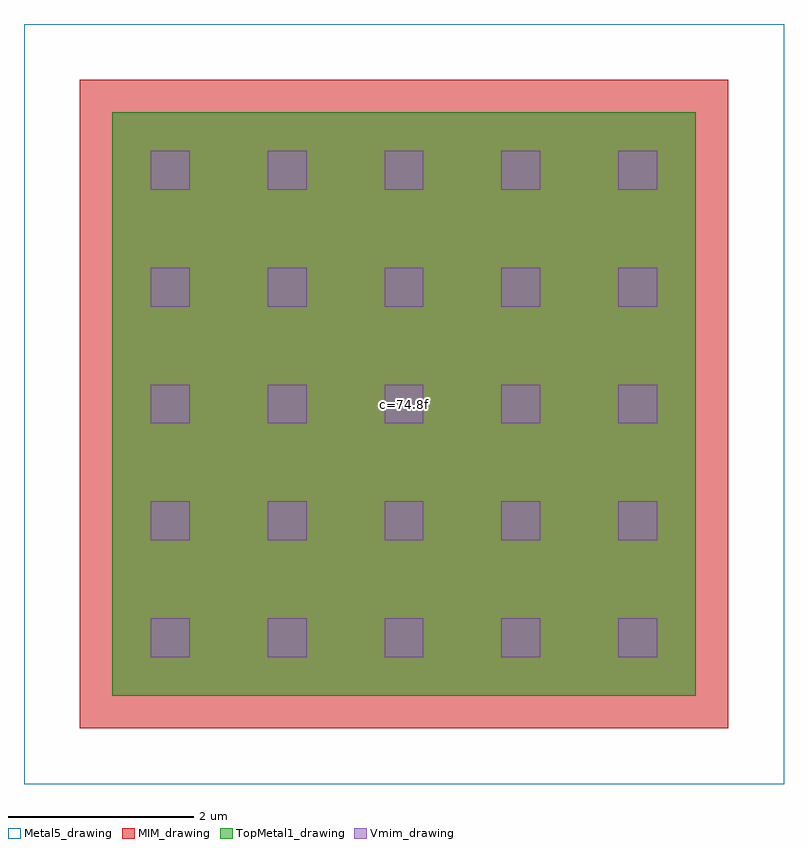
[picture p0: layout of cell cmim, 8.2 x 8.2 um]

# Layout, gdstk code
import gdstk
lib = gdstk.Library(unit=1e-6, precision=1e-09)
def R(c, l, rs):  # rectangles x0, y0, x1, y1
    for r in rs: c.add(gdstk.rectangle(r[:2], r[2:], *l))
def A(c, l, x, y, w, h, nx, ny, dx, dy):  # array of equal rectangles
    R(c, l, [(x+i*dx, y+j*dy, x+i*dx+w, y+j*dy+h) for i in range(nx) for j in range(ny)])
MIM_drawing = (36, 0)
Metal5_drawing = (67, 0)
TopMetal1_drawing = (126, 0)
Vmim_drawing = (129, 0)

cmim = lib.new_cell('cmim')
R(cmim, MIM_drawing, [(0,0,7,7)])
R(cmim, Metal5_drawing, [(-0.6,-0.6,7.6,7.6)])
R(cmim, TopMetal1_drawing, [(0.35,0.35,6.65,6.65)])
A(cmim, Vmim_drawing, 0.77, 0.77, 0.42, 0.42, 5, 5, 1.26, 1.26)
cmim.add(gdstk.Label('c=74.8f', (3.5,3.5), layer=63, texttype=0))
cmim.add(gdstk.Label('cmim', (3.5,3.5), layer=63, texttype=0))

lib.write_gds('cmim.gds')
